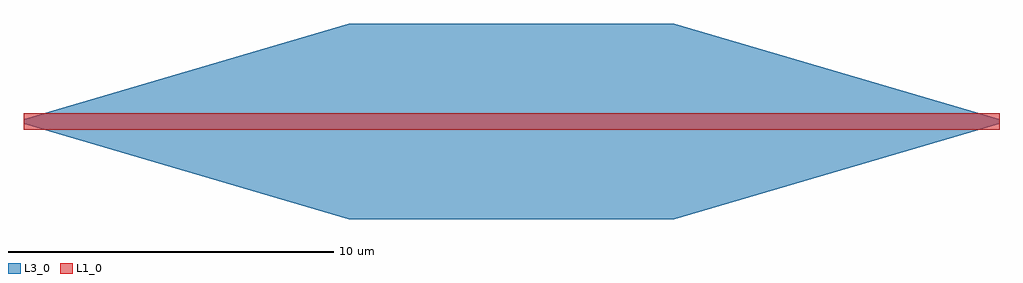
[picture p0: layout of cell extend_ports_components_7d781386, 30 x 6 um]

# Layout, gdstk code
import gdstk
lib = gdstk.Library(unit=1e-6, precision=1e-09)
def R(c, l, rs):  # rectangles x0, y0, x1, y1
    for r in rs: c.add(gdstk.rectangle(r[:2], r[2:], *l))
def P(c, l, *ps):  # polygons
    for p in ps: c.add(gdstk.Polygon(p, *l))
L1_0 = (1, 0)
L3_0 = (3, 0)

straight_cross_sectionc_ = lib.new_cell('straight_cross_sectionc_63f0cf7b')
R(straight_cross_sectionc_, L1_0, [(0,-0.25,10,0.25)])
R(straight_cross_sectionc_, L3_0, [(0,-3,10,3)])

extend_ports_components_ = lib.new_cell('extend_ports_components_7d781386')
R(extend_ports_components_, L1_0, [(-10,-0.25,0,0.25), (10,-0.25,20,0.25)])
P(extend_ports_components_, L3_0, [(-10,0.075),(0,3),(0,-3),(-10,-0.075)],
  [(20,-0.075),(10,-3),(10,3),(20,0.075)])
extend_ports_components_.add(gdstk.Reference(straight_cross_sectionc_, (0,0)))

lib.write_gds('extend_ports_components_7d781386.gds')
